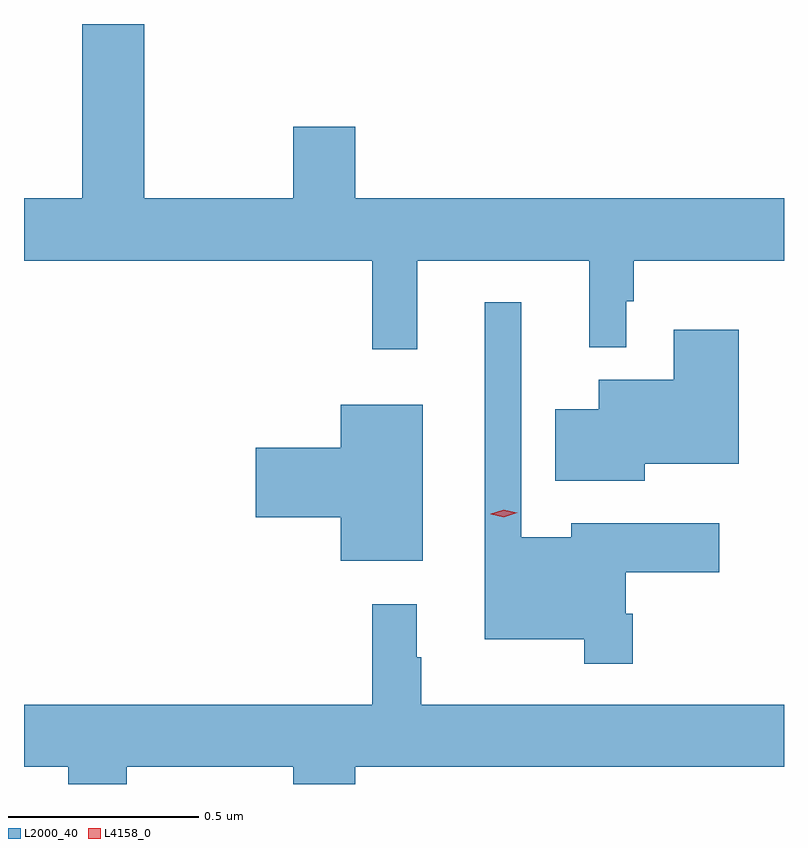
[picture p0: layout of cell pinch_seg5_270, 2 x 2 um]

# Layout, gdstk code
import gdstk
lib = gdstk.Library(unit=1e-6, precision=1e-09)
def P(c, l, *ps):  # polygons
    for p in ps: c.add(gdstk.Polygon(p, *l))
L2000_40 = (2000, 40)
L4158_0 = (4158, 0)

pinch_seg5_270 = lib.new_cell('pinch_seg5_270')
P(pinch_seg5_270, L2000_40, [(896.603,907.376),(897.056,907.376),(897.056,907.148),(897.153,907.148),(897.153,907.269),(897.173,907.269),(897.173,907.376),(897.568,907.376),(897.568,907.54),(896.44,907.54),(896.44,907.729),(896.276,907.729),(896.276,907.54),(895.885,907.54),(895.885,907.999),(895.721,907.999),(895.721,907.54),(895.568,907.54),(895.568,907.376),(896.485,907.376),(896.485,907.143),(896.603,907.143)],
  [(897.17,906.447),(897.151,906.447),(897.151,906.556),(897.397,906.556),(897.397,906.685),(897.008,906.685),(897.008,906.649),(896.877,906.649),(896.877,907.267),(896.78,907.267),(896.78,906.38),(897.042,906.38),(897.042,906.315),(897.17,906.315)],
  [(897.202,906.842),(897.449,906.842),(897.449,907.195),(897.278,907.195),(897.278,907.063),(897.08,907.063),(897.08,906.985),(896.966,906.985),(896.966,906.797),(897.202,906.797)],
  [(896.617,906.997),(896.402,906.997),(896.402,906.884),(896.178,906.884),(896.178,906.701),(896.402,906.701),(896.402,906.587),(896.617,906.587)],
  [(895.839,906.044),(896.276,906.044),(896.276,905.999),(896.44,905.999),(896.44,906.044),(897.568,906.044),(897.568,906.208),(896.614,906.208),(896.614,906.332),(896.602,906.332),(896.602,906.472),(896.485,906.472),(896.485,906.208),(895.568,906.208),(895.568,906.044),(895.684,906.044),(895.684,905.999),(895.839,905.999)])
P(pinch_seg5_270, L4158_0, [(896.831,906.701),(896.796,906.709),(896.796,906.71),(896.796,906.71),(896.83,906.721),(896.866,906.713),(896.866,906.713),(896.866,906.713)])

lib.write_gds('pinch_seg5_270.gds')
